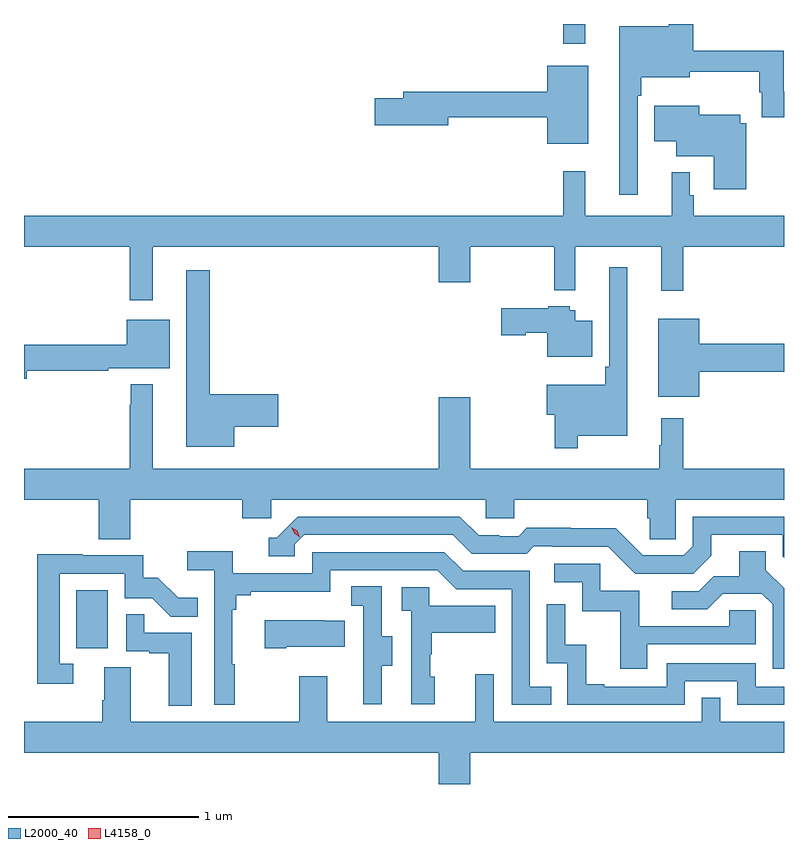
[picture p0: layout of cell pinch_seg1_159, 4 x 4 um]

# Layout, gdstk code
import gdstk
lib = gdstk.Library(unit=1e-6, precision=1e-09)
def R(c, l, rs):  # rectangles x0, y0, x1, y1
    for r in rs: c.add(gdstk.rectangle(r[:2], r[2:], *l))
def P(c, l, *ps):  # polygons
    for p in ps: c.add(gdstk.Polygon(p, *l))
L2000_40 = (2000, 40)
L4158_0 = (4158, 0)

pinch_seg1_159 = lib.new_cell('pinch_seg1_159')
R(pinch_seg1_159, L2000_40, [(1098.164,556.278,1098.328,556.585), (1100.725,559.461,1100.842,559.564)])
P(pinch_seg1_159, L2000_40, [(1101.117,559.187),(1101.137,559.187),(1101.137,559.283),(1101.391,559.283),(1101.391,559.312),(1101.759,559.312),(1101.759,559.206),(1101.771,559.206),(1101.771,559.072),(1101.888,559.072),(1101.888,559.208),(1101.887,559.208),(1101.887,559.423),(1101.41,559.423),(1101.41,559.564),(1101.282,559.564),(1101.282,559.552),(1101.02,559.552),(1101.02,558.666),(1101.117,558.666)],
  [(1100.857,559.345),(1100.642,559.345),(1100.642,559.208),(1099.883,559.208),(1099.883,559.172),(1099.734,559.172),(1099.734,559.03),(1100.122,559.03),(1100.122,559.072),(1100.642,559.072),(1100.642,558.935),(1100.857,558.935)],
  [(1101.689,559.041),(1101.658,559.041),(1101.658,559.087),(1101.442,559.087),(1101.442,559.135),(1101.206,559.135),(1101.206,558.947),(1101.32,558.947),(1101.32,558.869),(1101.518,558.869),(1101.518,558.693),(1101.689,558.693)],
  [(1101.242,558.159),(1101.359,558.159),(1101.359,558.392),(1101.888,558.392),(1101.888,558.556),(1101.413,558.556),(1101.413,558.663),(1101.393,558.663),(1101.393,558.784),(1101.296,558.784),(1101.296,558.556),(1100.843,558.556),(1100.843,558.79),(1100.725,558.79),(1100.725,558.556),(1097.888,558.556),(1097.888,558.392),(1098.444,558.392),(1098.444,558.111),(1098.565,558.111),(1098.565,558.392),(1100.072,558.392),(1100.072,558.204),(1100.236,558.204),(1100.236,558.392),(1100.679,558.392),(1100.679,558.164),(1100.789,558.164),(1100.789,558.392),(1101.242,558.392)],
  [(1100.803,557.396),(1101.064,557.396),(1101.064,558.283),(1100.967,558.283),(1100.967,557.761),(1100.947,557.761),(1100.947,557.665),(1100.64,557.665),(1100.64,557.507),(1100.682,557.507),(1100.682,557.331),(1100.803,557.331)],
  [(1098.994,557.444),(1099.225,557.444),(1099.225,557.615),(1098.865,557.615),(1098.865,558.268),(1098.743,558.268),(1098.743,557.339),(1098.994,557.339)],
  [(1100.878,558.001),(1100.788,558.001),(1100.788,558.057),(1100.76,558.057),(1100.76,558.079),(1100.646,558.079),(1100.646,558.069),(1100.4,558.069),(1100.4,557.927),(1100.529,557.927),(1100.529,557.939),(1100.642,557.939),(1100.642,557.813),(1100.878,557.813)],
  [(1101.442,557.735),(1101.888,557.735),(1101.888,557.882),(1101.442,557.882),(1101.442,558.013),(1101.227,558.013),(1101.227,557.603),(1101.442,557.603)],
  [(1097.902,557.74),(1098.332,557.74),(1098.332,557.753),(1098.655,557.753),(1098.655,558.007),(1098.428,558.007),(1098.428,557.876),(1097.888,557.876),(1097.888,557.698),(1097.902,557.698)],
  [(1098.446,557.06),(1099.037,557.06),(1099.037,556.962),(1099.188,556.962),(1099.188,557.06),(1100.319,557.06),(1100.319,556.962),(1100.469,556.962),(1100.469,557.06),(1101.167,557.06),(1101.167,556.962),(1101.181,556.962),(1101.181,556.852),(1101.318,556.852),(1101.318,557.06),(1101.888,557.06),(1101.888,557.224),(1101.359,557.224),(1101.359,557.488),(1101.242,557.488),(1101.242,557.348),(1101.231,557.348),(1101.231,557.224),(1100.236,557.224),(1100.236,557.599),(1100.072,557.599),(1100.072,557.224),(1098.565,557.224),(1098.565,557.668),(1098.45,557.668),(1098.45,557.561),(1098.444,557.561),(1098.444,557.224),(1097.888,557.224),(1097.888,557.06),(1098.281,557.06),(1098.281,556.852),(1098.446,556.852)],
  [(1101.505,556.765),(1101.505,556.875),(1101.882,556.875),(1101.882,556.761),(1101.888,556.755),(1101.888,556.971),(1101.408,556.971),(1101.408,556.815),(1101.36,556.767),(1101.144,556.767),(1101.002,556.909),(1100.766,556.909),(1100.766,556.912),(1100.533,556.912),(1100.491,556.869),(1100.388,556.869),(1100.388,556.872),(1100.281,556.872),(1100.182,556.971),(1099.329,556.971),(1099.218,556.86),(1099.175,556.86),(1099.175,556.764),(1099.314,556.764),(1099.314,556.827),(1099.362,556.875),(1100.145,556.875),(1100.244,556.776),(1100.533,556.776),(1100.572,556.815),(1100.671,556.815),(1100.671,556.812),(1100.964,556.812),(1101.105,556.671),(1101.411,556.671)],
  [(1098.997,556.193),(1098.985,556.193),(1098.985,556.481),(1099.004,556.481),(1099.004,556.558),(1099.081,556.558),(1099.081,556.577),(1099.5,556.577),(1099.5,556.689),(1100.064,556.689),(1100.163,556.59),(1100.454,556.59),(1100.454,555.981),(1100.663,555.981),(1100.663,556.077),(1100.55,556.077),(1100.55,556.686),(1100.2,556.686),(1100.101,556.785),(1099.404,556.785),(1099.404,556.674),(1098.986,556.674),(1098.986,556.79),(1098.747,556.79),(1098.747,556.688),(1098.888,556.688),(1098.888,555.981),(1098.997,555.981)],
  [(1101.888,556.593),(1101.793,556.688),(1101.793,556.79),(1101.653,556.79),(1101.653,556.658),(1101.518,556.658),(1101.438,556.578),(1101.297,556.578),(1101.297,556.485),(1101.484,556.485),(1101.565,556.566),(1101.771,556.566),(1101.828,556.509),(1101.828,556.17),(1101.888,556.17)],
  [(1098.148,556.197),(1098.075,556.197),(1098.075,556.671),(1098.417,556.671),(1098.417,556.542),(1098.562,556.542),(1098.66,556.444),(1098.803,556.444),(1098.803,556.543),(1098.699,556.543),(1098.592,556.65),(1098.516,556.65),(1098.516,556.767),(1098.197,556.767),(1098.197,556.772),(1097.959,556.772),(1097.959,556.092),(1098.148,556.092)],
  [(1101.169,556.299),(1101.738,556.299),(1101.738,556.479),(1101.601,556.479),(1101.601,556.395),(1101.127,556.395),(1101.127,556.581),(1100.922,556.581),(1100.922,556.722),(1100.679,556.722),(1100.679,556.626),(1100.826,556.626),(1100.826,556.473),(1101.025,556.473),(1101.025,556.17),(1101.169,556.17)],
  [(1099.771,556.186),(1099.825,556.186),(1099.825,556.341),(1099.77,556.341),(1099.77,556.604),(1099.611,556.604),(1099.611,556.501),(1099.674,556.501),(1099.674,556.197),(1099.673,556.197),(1099.673,555.984),(1099.771,555.984)],
  [(1100.05,556.128),(1100.025,556.128),(1100.025,556.247),(1100.035,556.247),(1100.035,556.361),(1100.369,556.361),(1100.369,556.501),(1100.022,556.501),(1100.022,556.599),(1099.875,556.599),(1099.875,556.475),(1099.926,556.475),(1099.926,555.984),(1100.05,555.984)],
  [(1101.366,556.104),(1101.642,556.104),(1101.642,555.981),(1101.888,555.981),(1101.888,556.077),(1101.738,556.077),(1101.738,556.2),(1101.27,556.2),(1101.27,556.077),(1100.941,556.077),(1100.941,556.09),(1100.846,556.09),(1100.846,556.298),(1100.736,556.298),(1100.736,556.51),(1100.64,556.51),(1100.64,556.2),(1100.748,556.2),(1100.748,555.981),(1101.366,555.981)],
  [(1098.772,556.359),(1098.521,556.359),(1098.521,556.457),(1098.426,556.457),(1098.426,556.263),(1098.547,556.263),(1098.547,556.251),(1098.65,556.251),(1098.65,555.977),(1098.772,555.977)],
  [(1099.267,556.286),(1099.577,556.286),(1099.577,556.423),(1099.469,556.423),(1099.469,556.426),(1099.155,556.426),(1099.155,556.279),(1099.267,556.279)],
  [(1100.236,555.728),(1101.888,555.728),(1101.888,555.892),(1101.552,555.892),(1101.552,556.019),(1101.456,556.019),(1101.456,555.892),(1100.361,555.892),(1100.361,556.141),(1100.264,556.141),(1100.264,555.892),(1099.483,555.892),(1099.483,556.132),(1099.336,556.132),(1099.336,555.892),(1098.451,555.892),(1098.451,556.178),(1098.311,556.178),(1098.311,556.004),(1098.299,556.004),(1098.299,555.892),(1097.888,555.892),(1097.888,555.728),(1100.072,555.728),(1100.072,555.564),(1100.236,555.564)])
P(pinch_seg1_159, L4158_0, [(1099.34,556.863),(1099.31,556.883),(1099.294,556.916),(1099.294,556.916),(1099.294,556.916),(1099.325,556.896),(1099.34,556.863),(1099.34,556.863)])

lib.write_gds('pinch_seg1_159.gds')
